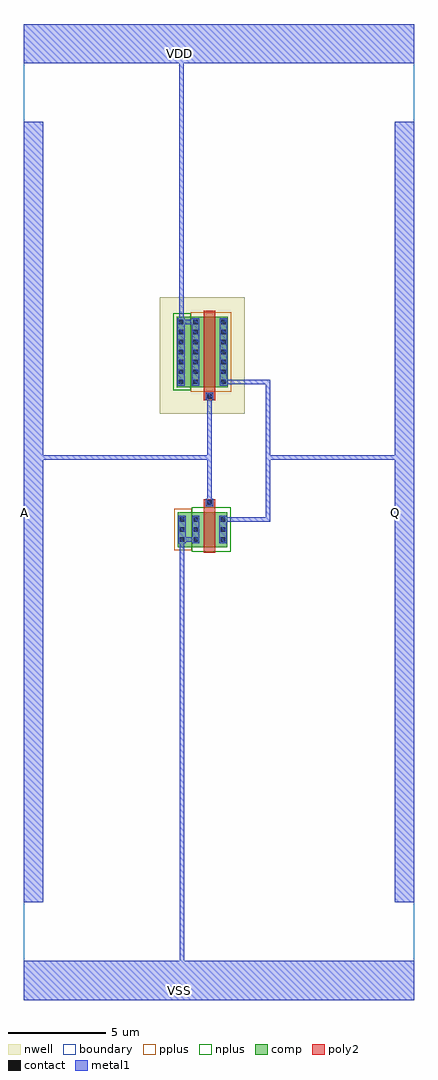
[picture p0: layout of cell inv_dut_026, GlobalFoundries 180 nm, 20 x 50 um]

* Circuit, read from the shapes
.subckt inv_dut_026 A Q VDD VSS
XM1 Q A VSS VSS nfet_03v3 w=1.8u l=0.6u
XM2 Q A VDD VDD pfet_03v3 w=3.6u l=0.6u
.ends

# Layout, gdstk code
from math import pi, radians
import gdstk
lib = gdstk.Library(unit=1e-6, precision=1e-09)
def R(c, l, rs):  # rectangles x0, y0, x1, y1
    for r in rs: c.add(gdstk.rectangle(r[:2], r[2:], *l))
def A(c, l, x, y, w, h, nx, ny, dx, dy):  # array of equal rectangles
    R(c, l, [(x+i*dx, y+j*dy, x+i*dx+w, y+j*dy+h) for i in range(nx) for j in range(ny)])
boundary = (0, 0)
nwell = (21, 0)
comp = (22, 0)
poly2 = (30, 0)
pplus = (31, 0)
nplus = (32, 0)
contact = (33, 0)
metal1 = (34, 0)

nfet = lib.new_cell('nfet')
R(nfet, comp, [(-0.42,0,2.11,1.8)])
R(nfet, poly2, [(0.19,-0.66,0.79,2.1)])
R(nfet, pplus, [(1.4,-0.17,2.28,1.97)])
R(nfet, nplus, [(-0.59,-0.24,1.4,2.04)])
A(nfet, contact, -0.32, 0.28, 0.22, 0.22, 1, 3, 0, 0.51)
A(nfet, contact, 1.08, 0.28, 0.22, 0.22, 1, 3, 0, 0.51)
A(nfet, contact, 1.79, 0.28, 0.22, 0.22, 1, 3, 0, 0.51)
R(nfet, contact, [(0.38,-0.59,0.6,-0.37)])
R(nfet, metal1, [(0.3,-0.67,0.68,-0.29), (-0.4,0.2,-0.02,1.6), (1,0.2,1.38,1.6), (1.71,0.2,2.09,1.6)])

pfet = lib.new_cell('pfet')
R(pfet, nwell, [(-1.32,-0.99,3.03,4.97)])
R(pfet, comp, [(-0.46,0,2.17,3.6)])
R(pfet, poly2, [(0.19,-0.3,0.79,4.28)])
R(pfet, pplus, [(-0.63,-0.24,1.44,3.84)])
R(pfet, nplus, [(1.44,-0.17,2.34,3.77)])
A(pfet, contact, -0.34, 0.16, 0.22, 0.22, 1, 7, 0, 0.51)
A(pfet, contact, 1.1, 0.16, 0.22, 0.22, 1, 7, 0, 0.51)
A(pfet, contact, 1.83, 0.16, 0.22, 0.22, 1, 7, 0, 0.51)
R(pfet, contact, [(0.38,3.98,0.6,4.2)])
R(pfet, metal1, [(-0.42,0.08,-0.04,3.52), (1.02,0.08,1.4,3.52), (1.75,0.08,2.13,3.52), (0.3,3.9,0.68,4.28)])

inv_dut_026 = lib.new_cell('inv_dut_026')
R(inv_dut_026, boundary, [(-10,-25,10,25)])
R(inv_dut_026, metal1, [(-10,-25,10,-23), (-10,-20,-9,20), (9,-20,10,20), (-10,23,10,25)])
inv_dut_026.add(gdstk.FlexPath([(-0.49,6.02),(-0.49,0.37)], 0.23, ends="flush", simple_path=True, layer=34, datatype=0))  # metal1
inv_dut_026.add(gdstk.FlexPath([(0.12,6.665),(2.51,6.665),(2.51,2.785),(9.385,2.785)], 0.23, ends="flush", simple_path=True, layer=34, datatype=0))  # metal1
inv_dut_026.add(gdstk.FlexPath([(-0.5,2.79),(-9.415,2.79)], 0.23, ends="flush", simple_path=True, layer=34, datatype=0))  # metal1
inv_dut_026.add(gdstk.FlexPath([(-1.1,9.73),(-1.925,9.73),(-1.925,23.94)], 0.23, ends="flush", simple_path=True, layer=34, datatype=0))  # metal1
inv_dut_026.add(gdstk.FlexPath([(-1.08,-1.41),(-1.9,-1.41),(-1.9,-23.88)], 0.23, ends="flush", simple_path=True, layer=34, datatype=0))  # metal1
inv_dut_026.add(gdstk.FlexPath([(0.1,-0.395),(2.51,-0.395),(2.51,2.85)], 0.23, ends="flush", simple_path=True, layer=34, datatype=0))  # metal1
inv_dut_026.add(gdstk.Reference(nfet, (0,0), rotation=pi))
inv_dut_026.add(gdstk.Reference(pfet, (0,10), rotation=pi))
inv_dut_026.add(gdstk.Label('VDD', (-2,23.5), layer=34, texttype=10))
inv_dut_026.add(gdstk.Label('VSS', (-2,-24.5), layer=34, texttype=10))
inv_dut_026.add(gdstk.Label('A', (-9.97,0), layer=34, texttype=10))
inv_dut_026.add(gdstk.Label('Q', (9.03,0), layer=34, texttype=10))

lib.write_gds('inv_dut_026.gds')
